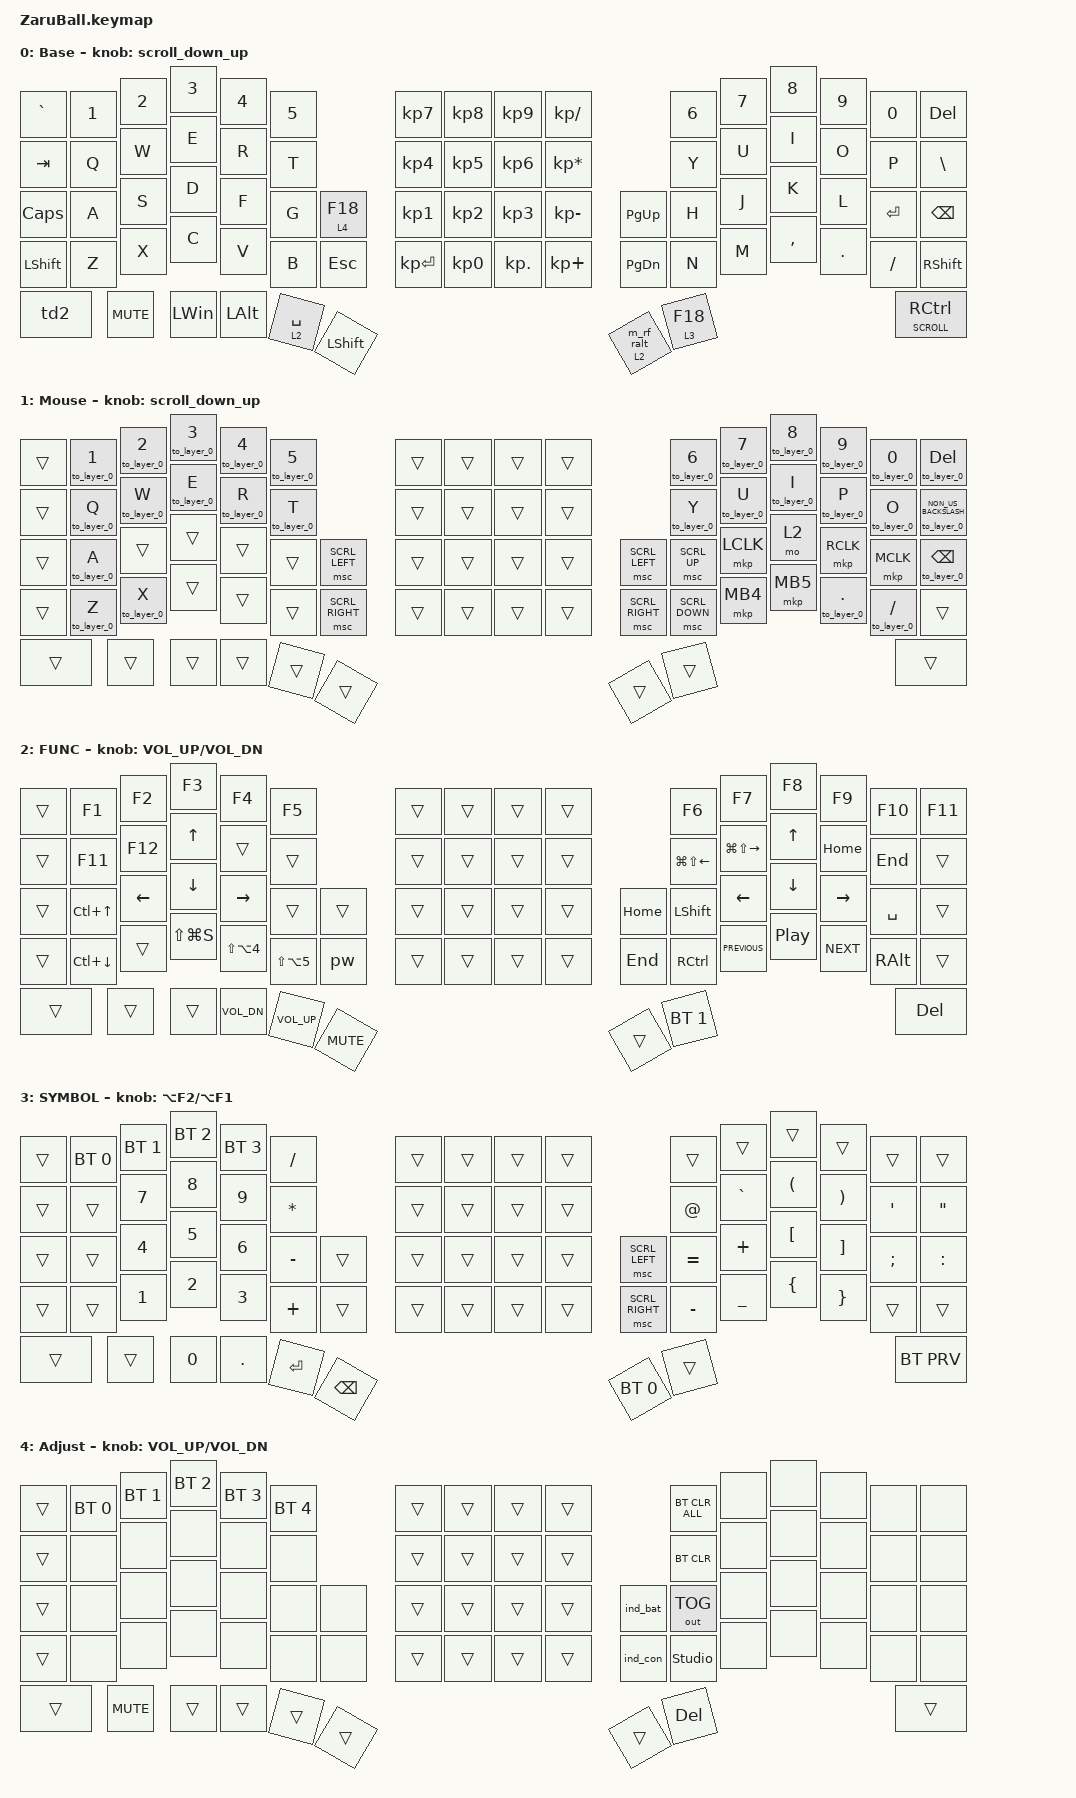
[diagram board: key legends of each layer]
//#include <dt-bindings/zmk/mouse.h>

#include <behaviors/rgbled_widget.dtsi>
#include <input/processors.dtsi>
#include <dt-bindings/zmk/input_transform.h>
#include <behaviors.dtsi>
#include <dt-bindings/zmk/bt.h>
#include <dt-bindings/zmk/keys.h>
#include <dt-bindings/zmk/outputs.h>
#include <dt-bindings/zmk/pointing.h>

#define BASE     0
#define MOUSE    1
#define LOWER    2
#define RAISE    3
#define ADJUST   4
#define SCROLL   2

// スクロール量の設定

#define ZMK_POINTING_DEFAULT_SCRL_VAL 100

&trackball_listener {
    input-processors = <
                         &zip_xy_transform (INPUT_TRANSFORM_XY_SWAP | INPUT_TRANSFORM_Y_INVERT | INPUT_TRANSFORM_X_INVERT)
                         &zip_temp_layer MOUSE 350
    >;

    scroller {
        layers = <SCROLL>;
        input-processors = <
                            &zip_xy_transform (INPUT_TRANSFORM_XY_SWAP | INPUT_TRANSFORM_X_INVERT)
                            &zip_xy_scaler 1 30  // 1/30の速度（分子/分母の形式。1 3なら1/3の速度、3 3なら1倍）
                            &zip_xy_to_scroll_mapper
        >;
    };
};

/ {
    conditional_layers { compatible = "zmk,conditional-layers"; };
};

/ {
    behaviors {
        // スクロール用のbehaviorの設定

        scroll_down_up: behavior_sensor_rotate_mouse_wheel_down_up {
            compatible = "zmk,behavior-sensor-rotate";
            #sensor-binding-cells = <0>;
            bindings = <&msc SCRL_UP>, <&msc SCRL_DOWN>;

            tap-ms = <20>; // スクロールのタップ時間
        };

        td0: tap_dance_0 {
            compatible = "zmk,behavior-tap-dance";
            #binding-cells = <0>;
            tapping-term-ms = <200>;
            bindings = <&mt LALT LANG2>, <&mo RAISE>, <&mo MOUSE>;
        };

        td1: tap_dance_1 {
            compatible = "zmk,behavior-tap-dance";
            #binding-cells = <0>;
            tapping-term-ms = <200>;
            bindings = <&mt RCTL LANG1>, <&mo RAISE>, <&mo MOUSE>;
        };

        // Customed Hold-Tap for SandS

        SandS: SandS {
            compatible = "zmk,behavior-hold-tap";
            #binding-cells = <2>;
            flavor = "tap-unless-interrupted";
            tapping-term-ms = <500>;
            quick-tap-ms = <500>;
            bindings = <&kp>, <&kp>;

            display-name = "SandS";
        };

        td2: tap_dance_2 {
            compatible = "zmk,behavior-tap-dance";
            #binding-cells = <0>;
            tapping-term-ms = <200>;
            bindings = <&mt LEFT_CONTROL LEFT_CONTROL>, <&mo 2>;

            label = "ctrl -> 2layer";
        };

        // 長押しでレイヤー、タップで「ゆっくり右Alt」を送る挙動

        lr_ralt: lr_ralt {
            compatible = "zmk,behavior-hold-tap";
            #binding-cells = <2>;
            flavor = "tap-preferred";
            tapping-term-ms = <200>;
            bindings = <&mo>, <&m_rf_ralt>;
        };
    };
};

&sl { release-after-ms = <250>; }; // time needed for double click (for mkp_exit_AML)
/ {
    macros {
        // When in AML, move to default layer when key (except mouse button) pressed

        to_layer_0: to_layer_0 {
            compatible = "zmk,behavior-macro-one-param";
            #binding-cells = <1>;
            bindings = <&tog MOUSE &macro_param_1to1 &kp MACRO_PLACEHOLDER>;
            label = "TO_layer_0";
        };

        // When LCLK pressed, exit AML (after 250ms cause by sticky layer

        mkp_exit_AML: mkp_exit_AML {
            compatible = "zmk,behavior-macro-one-param";
            #binding-cells = <1>;
            bindings =
                <&macro_press>,
                <&macro_param_1to1 &mkp MACRO_PLACEHOLDER>,
                <&macro_pause_for_release>,
                <&macro_release>,
                <&macro_param_1to1 &mkp MACRO_PLACEHOLDER>,
                <&macro_tap>,
                <&sl MOUSE>;

            label = "MKP_EXIT_AML";
        };

        pw: pw {
            compatible = "zmk,behavior-macro";
            #binding-cells = <0>;
            bindings = <&kp LS(T) &kp S &kp H &kp I &kp O &kp R &kp I &kp AT &kp N0 &kp N6 &kp N0 &kp N4 &kp ENTER>;
            label = "PW";
        };

        // 右Altを125ms保持して送出する（Realforceの挙動を再現）

        m_rf_ralt: m_rf_ralt {
            compatible = "zmk,behavior-macro";
            #binding-cells = <0>;
            tap-ms = <75>;
            bindings = <&kp RALT>;
        };
    };
};

/ {
    keymap {
        compatible = "zmk,keymap";

        base_layer {
            display-name = "Base";
            sensor-bindings = <&scroll_down_up>;
            bindings = <
&kp GRAVE  &kp N1      &kp N2  &kp N3        &kp N4        &kp N5                         &kp KP_N7     &kp KP_N8  &kp KP_N9   &kp KP_DIVIDE                     &kp NUMBER_6  &kp N7  &kp N8     &kp N9   &kp N0     &kp DELETE
&kp TAB    &kp Q       &kp W   &kp E         &kp R         &kp T                          &kp KP_N4     &kp KP_N5  &kp KP_N6   &kp KP_MULTIPLY                   &kp Y         &kp U   &kp I      &kp O    &kp P      &kp BACKSLASH
&kp CAPS   &kp A       &kp S   &kp D         &kp F         &kp G        &lt 4 F18         &kp KP_N1     &kp KP_N2  &kp KP_N3   &kp KP_MINUS       &kp PAGE_UP    &kp H         &kp J   &kp K      &kp L    &kp ENTER  &kp BACKSPACE
&kp LSHFT  &kp Z       &kp X   &kp C         &kp V         &kp B        &kp ESCAPE        &kp KP_ENTER  &kp KP_N0  &kp KP_DOT  &kp KP_PLUS        &kp PAGE_DOWN  &kp N         &kp M   &kp COMMA  &kp DOT  &kp FSLH   &kp RIGHT_SHIFT
&td2       &kp C_MUTE          &kp LEFT_WIN  &kp LEFT_ALT  &lt 2 SPACE  &kp LEFT_SHIFT                                                            &lr_ralt 2 0   &lt 3 F18                                            &lt SCROLL RIGHT_CONTROL
            >;
        };

        mouse_layer {
            display-name = "Mouse";
            sensor-bindings = <&scroll_down_up>;
            bindings = <
&trans  &to_layer_0 N1  &to_layer_0 N2  &to_layer_0 N3  &to_layer_0 N4  &to_layer_0 N5                     &trans  &trans  &trans  &trans                     &to_layer_0 N6  &to_layer_0 N7  &to_layer_0 N8  &to_layer_0 N9      &to_layer_0 N0     &to_layer_0 DEL
&trans  &to_layer_0 Q   &to_layer_0 W   &to_layer_0 E   &to_layer_0 R   &to_layer_0 T                      &trans  &trans  &trans  &trans                     &to_layer_0 Y   &to_layer_0 U   &to_layer_0 I   &to_layer_0 P       &to_layer_0 O      &to_layer_0 NON_US_BACKSLASH
&trans  &to_layer_0 A   &trans          &trans          &trans          &trans          &msc SCRL_LEFT     &trans  &trans  &trans  &trans    &msc SCRL_LEFT   &msc SCRL_UP    &mkp LCLK       &mo 2           &mkp RCLK           &mkp MCLK          &to_layer_0 BACKSPACE
&trans  &to_layer_0 Z   &to_layer_0 X   &trans          &trans          &trans          &msc SCRL_RIGHT    &trans  &trans  &trans  &trans    &msc SCRL_RIGHT  &msc SCRL_DOWN  &mkp MB4        &mkp MB5        &to_layer_0 PERIOD  &to_layer_0 SLASH  &trans
&trans  &trans                          &trans          &trans          &trans          &trans                                               &trans           &trans                                                                                 &trans
            >;
        };

        function_scroll {
            display-name = "FUNC";
            sensor-bindings = <&inc_dec_kp C_VOL_UP C_VOL_DN>;
            bindings = <
&trans  &kp F1            &kp F2          &kp F3          &kp F4                &kp F5                              &trans  &trans  &trans  &trans              &kp F6                  &kp F7                   &kp F8            &kp F9           &kp F10        &kp F11
&trans  &kp F11           &kp F12         &kp UP_ARROW    &trans                &trans                              &trans  &trans  &trans  &trans              &kp LG(LS(LEFT_ARROW))  &kp LG(LS(RIGHT_ARROW))  &kp UP_ARROW      &kp HOME         &kp END        &trans
&trans  &kp LC(UP_ARROW)  &kp LEFT_ARROW  &kp DOWN_ARROW  &kp RIGHT_ARROW       &trans                &trans        &trans  &trans  &trans  &trans    &kp HOME  &kp LEFT_SHIFT          &kp LEFT_ARROW           &kp DOWN_ARROW    &kp RIGHT_ARROW  &kp SPACE      &trans
&trans  &kp LC(DOWN)      &trans          &kp LS(LG(S))   &kp LS(LA(NUMBER_4))  &kp LS(LA(NUMBER_5))  &pw           &trans  &trans  &trans  &trans    &kp END   &kp RIGHT_CONTROL       &kp C_PREVIOUS           &kp C_PLAY_PAUSE  &kp C_NEXT       &kp RIGHT_ALT  &trans
&trans  &trans                            &trans          &kp C_VOL_DN          &kp C_VOL_UP          &kp C_MUTE                                      &trans    &bt BT_SEL 1                                                                                       &kp DEL
            >;
        };

        symbol_layer {
            display-name = "SYMBOL";
            sensor-bindings = <&inc_dec_kp LA(F2) LA(F1)>;
            bindings = <
&trans  &bt BT_SEL 0  &bt BT_SEL 1  &bt BT_SEL 2  &bt BT_SEL 3  &kp SLASH                      &trans  &trans  &trans  &trans                     &trans       &trans          &trans                &trans                 &trans            &trans
&trans  &trans        &kp N7        &kp N8        &kp NUMBER_9  &kp ASTERISK                   &trans  &trans  &trans  &trans                     &kp AT_SIGN  &kp GRAVE       &kp LEFT_PARENTHESIS  &kp RIGHT_PARENTHESIS  &kp SINGLE_QUOTE  &kp DOUBLE_QUOTES
&trans  &trans        &kp NUMBER_4  &kp NUMBER_5  &kp NUMBER_6  &kp MINUS     &trans           &trans  &trans  &trans  &trans    &msc SCRL_LEFT   &kp EQUAL    &kp PLUS        &kp LEFT_BRACKET      &kp RIGHT_BRACKET      &kp SEMICOLON     &kp COLON
&trans  &trans        &kp NUMBER_1  &kp NUMBER_2  &kp NUMBER_3  &kp PLUS      &trans           &trans  &trans  &trans  &trans    &msc SCRL_RIGHT  &kp MINUS    &kp UNDERSCORE  &kp LEFT_BRACE        &kp RIGHT_BRACE        &trans            &trans
&trans  &trans                      &kp N0        &kp DOT       &kp ENTER     &kp BACKSPACE                                      &bt BT_SEL 0     &trans                                                                                      &bt BT_PRV
            >;
        };

        adjust_layer {
            display-name = "Adjust";
            sensor-bindings = <&inc_dec_kp C_VOL_UP C_VOL_DN>;
            bindings = <
&trans  &bt BT_SEL 0  &bt BT_SEL 1  &bt BT_SEL 2  &bt BT_SEL 3  &bt BT_SEL 4            &trans  &trans  &trans  &trans              &bt BT_CLR_ALL  &none  &none  &none  &none  &none
&trans  &none         &none         &none         &none         &none                   &trans  &trans  &trans  &trans              &bt BT_CLR      &none  &none  &none  &none  &none
&trans  &none         &none         &none         &none         &none         &none     &trans  &trans  &trans  &trans    &ind_bat  &out OUT_TOG    &none  &none  &none  &none  &none
&trans  &none         &none         &none         &none         &none         &none     &trans  &trans  &trans  &trans    &ind_con  &studio_unlock  &none  &none  &none  &none  &none
&trans  &kp C_MUTE                  &trans        &trans        &trans        &trans                                      &trans    &kp DEL                                     &trans
            >;
        };

        // Extra layer can be added in ZMK STUDIO

        extra1 { status = "reserved"; };

        extra2 { status = "reserved"; };
    };
};
